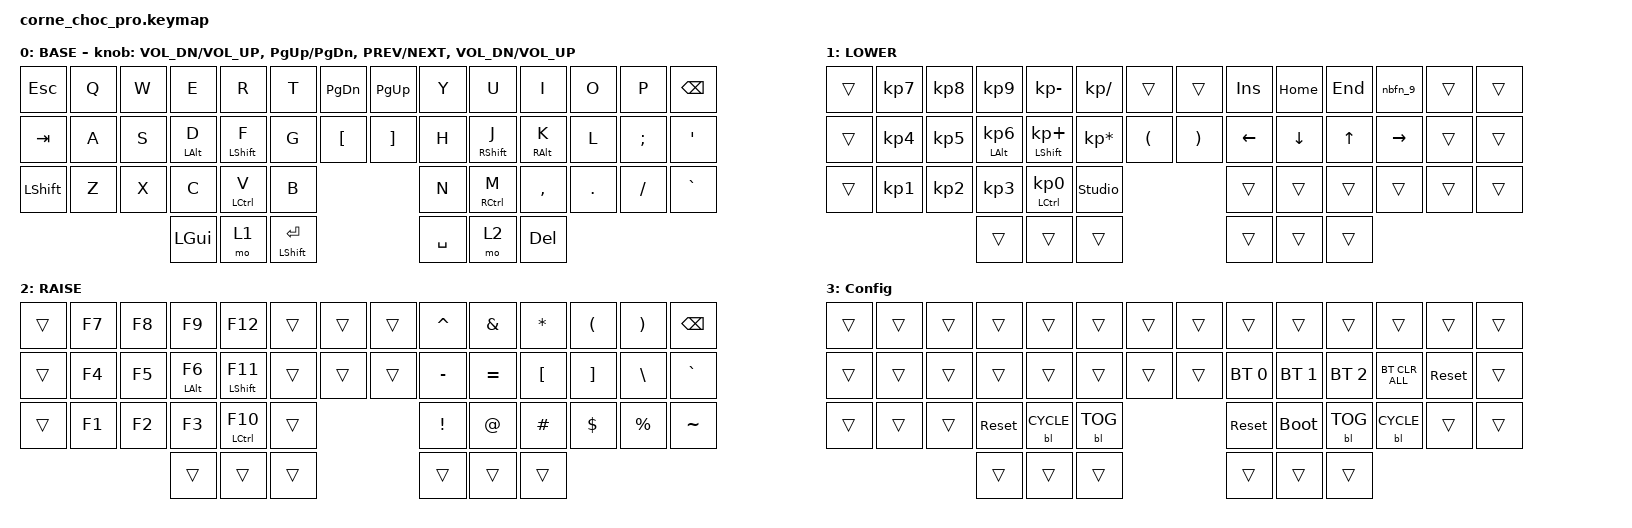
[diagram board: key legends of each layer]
/*
 * Copyright (c) 2020 The ZMK Contributors
 *
 * SPDX-License-Identifier: MIT
 */

#include <behaviors.dtsi>
#include <dt-bindings/zmk/backlight.h>
#include <dt-bindings/zmk/bt.h>
#include <dt-bindings/zmk/keys.h>

/ {
    chosen { zmk,physical-layout = &default_layout; };
};

/ {
    macros {
        lm: lm {
            compatible = "zmk,behavior-macro-two-param";
            #binding-cells = <2>;
            bindings =
                <&macro_param_1to1>,
                <&macro_press>,
                <&mo MACRO_PLACEHOLDER &macro_param_2to1 &kp MACRO_PLACEHOLDER>,
                <&macro_pause_for_release>,
                <&macro_param_2to1>,
                <&macro_release>,
                <&kp MACRO_PLACEHOLDER &macro_param_1to1 &mo MACRO_PLACEHOLDER>;

            label = "LM";
            wait-ms = <0>;
            tap-ms = <0>;
        };
    };

    behaviors {
        nbfn_1: nbfn_1 {
            compatible = "zmk,behavior-mod-morph";
            label = "NBFN_1";
            bindings = <&kp NUMBER_1>, <&kp F1>;

            #binding-cells = <0>;
            mods = <(MOD_LSFT|MOD_RSFT)>;
        };

        nbfn_2: nbfn_2 {
            compatible = "zmk,behavior-mod-morph";
            label = "NBFN_2";
            bindings = <&kp NUMBER_2>, <&kp F2>;

            #binding-cells = <0>;
            mods = <(MOD_LSFT|MOD_RSFT)>;
        };

        nbfn_3: nbfn_3 {
            compatible = "zmk,behavior-mod-morph";
            label = "NBFN_3";
            bindings = <&kp NUMBER_3>, <&kp F3>;

            #binding-cells = <0>;
            mods = <(MOD_LSFT|MOD_RSFT)>;
        };

        nbfn_4: nbfn_4 {
            compatible = "zmk,behavior-mod-morph";
            label = "NBFN_4";
            bindings = <&kp NUMBER_4>, <&kp F4>;

            #binding-cells = <0>;
            mods = <(MOD_LSFT|MOD_RSFT)>;
        };

        nbfn_5: nbfn_5 {
            compatible = "zmk,behavior-mod-morph";
            label = "NBFN_5";
            bindings = <&kp N5>, <&kp F5>;

            #binding-cells = <0>;
            mods = <(MOD_LSFT|MOD_RSFT)>;
        };

        nbfn_6: nbfn_6 {
            compatible = "zmk,behavior-mod-morph";
            label = "NBFN_6";
            bindings = <&kp NUMBER_6>, <&kp F6>;

            #binding-cells = <0>;
            mods = <(MOD_LSFT|MOD_RSFT)>;
        };

        nbfn_7: nbfn_7 {
            compatible = "zmk,behavior-mod-morph";
            label = "NBFN_7";
            bindings = <&kp N7>, <&kp F7>;

            #binding-cells = <0>;
            mods = <(MOD_LSFT|MOD_RSFT)>;
        };

        nbfn_8: nbfn_8 {
            compatible = "zmk,behavior-mod-morph";
            label = "NBFN_8";
            bindings = <&kp N8>, <&kp F8>;

            #binding-cells = <0>;
            mods = <(MOD_LSFT|MOD_RSFT)>;
        };

        nbfn_9: nbfn_9 {
            compatible = "zmk,behavior-mod-morph";
            label = "NBFN_9";
            bindings = <&kp N9>, <&kp F8>;

            #binding-cells = <0>;
            mods = <(MOD_LSFT|MOD_RSFT)>;
        };

        dfn_10: dfn_10 {
            compatible = "zmk,behavior-mod-morph";
            label = "DFN_10";
            bindings = <&kp DOT>, <&kp F10>;

            #binding-cells = <0>;
            mods = <(MOD_LSFT|MOD_RSFT)>;
        };

        pfn_11: pfn_11 {
            compatible = "zmk,behavior-mod-morph";
            label = "PFN_11";
            bindings = <&kp PLUS>, <&kp F11>;

            #binding-cells = <0>;
            mods = <(MOD_LSFT|MOD_RSFT)>;
        };

        mfn_12: mfn_12 {
            compatible = "zmk,behavior-mod-morph";
            label = "MFN_12";
            bindings = <&kp MINUS>, <&kp F12>;

            #binding-cells = <0>;
            mods = <(MOD_LSFT|MOD_RSFT)>;
        };
    };

    keymap {
        compatible = "zmk,keymap";

        base_layer {
            display-name = "BASE";
            bindings = <
&kp ESCAPE  &kp Q  &kp W  &kp E           &kp R               &kp T                 &kp PAGE_DOWN     &kp PAGE_UP        &kp Y      &kp U                &kp I            &kp O    &kp P     &kp BACKSPACE
&kp TAB     &kp A  &kp S  &mt LEFT_ALT D  &mt LEFT_SHIFT F    &kp G                 &kp LEFT_BRACKET  &kp RIGHT_BRACKET  &kp H      &mt RIGHT_SHIFT J    &mt RIGHT_ALT K  &kp L    &kp SEMI  &kp SQT
&kp LSHFT   &kp Z  &kp X  &kp C           &mt LEFT_CONTROL V  &kp B                                                      &kp N      &mt RIGHT_CONTROL M  &kp COMMA        &kp DOT  &kp FSLH  &kp GRAVE
                          &kp LGUI        &mo 1               &mt LEFT_SHIFT ENTER                                       &kp SPACE  &mo 2                &kp DEL
            >;

            sensor-bindings = <&inc_dec_kp C_VOL_DN C_VOL_UP &inc_dec_kp PG_UP PG_DN &inc_dec_kp C_PREV C_NEXT &inc_dec_kp C_VOL_DN C_VOL_UP>;
        };

        lower_layer {
            display-name = "LOWER";
            bindings = <
&trans  &kp KP_NUMBER_7  &kp KP_NUMBER_8  &kp KP_NUMBER_9           &kp KP_SUBTRACT         &kp KP_SLASH     &trans                &trans                 &kp INS   &kp HOME  &kp END  &nbfn_9    &trans  &trans
&trans  &kp KP_NUMBER_4  &kp KP_NUMBER_5  &mt LEFT_ALT KP_NUMBER_6  &mt LEFT_SHIFT KP_PLUS  &kp KP_ASTERISK  &kp LEFT_PARENTHESIS  &kp RIGHT_PARENTHESIS  &kp LEFT  &kp DOWN  &kp UP   &kp RIGHT  &trans  &trans
&trans  &kp KP_NUMBER_1  &kp KP_NUMBER_2  &kp KP_NUMBER_3           &mt LCTRL KP_NUMBER_0   &studio_unlock                                                &trans    &trans    &trans   &trans     &trans  &trans
                                          &trans                    &trans                  &trans                                                        &trans    &trans    &trans
            >;
        };

        raise_layer {
            display-name = "RAISE";
            bindings = <
&trans  &kp F7  &kp F8  &kp F9           &kp F12             &trans  &trans  &trans  &kp CARET        &kp AMPS     &kp ASTRK  &kp LPAR    &kp RPAR     &kp BSPC
&trans  &kp F4  &kp F5  &mt LEFT_ALT F6  &mt LEFT_SHIFT F11  &trans  &trans  &trans  &kp MINUS        &kp EQUAL    &kp LBKT   &kp RBKT    &kp BSLH     &kp GRAVE
&trans  &kp F1  &kp F2  &kp F3           &mt LCTRL F10       &trans                  &kp EXCLAMATION  &kp AT_SIGN  &kp HASH   &kp DOLLAR  &kp PERCENT  &kp TILDE
                        &trans           &trans              &trans                  &trans           &trans       &trans
            >;
        };

        config {
            bindings = <
&trans  &trans  &trans  &trans      &trans        &trans      &trans  &trans  &trans        &trans        &trans        &trans          &trans      &trans
&trans  &trans  &trans  &trans      &trans        &trans      &trans  &trans  &bt BT_SEL 0  &bt BT_SEL 1  &bt BT_SEL 2  &bt BT_CLR_ALL  &sys_reset  &trans
&trans  &trans  &trans  &sys_reset  &bl BL_CYCLE  &bl BL_TOG                  &sys_reset    &bootloader   &bl BL_TOG    &bl BL_CYCLE    &trans      &trans
                        &trans      &trans        &trans                      &trans        &trans        &trans
            >;

            label = "Config";
        };
    };

    conditional_layers {
        compatible = "zmk,conditional-layers";

        Config {
            if-layers = <1 2>;
            then-layer = <3>;
        };
    };
};
